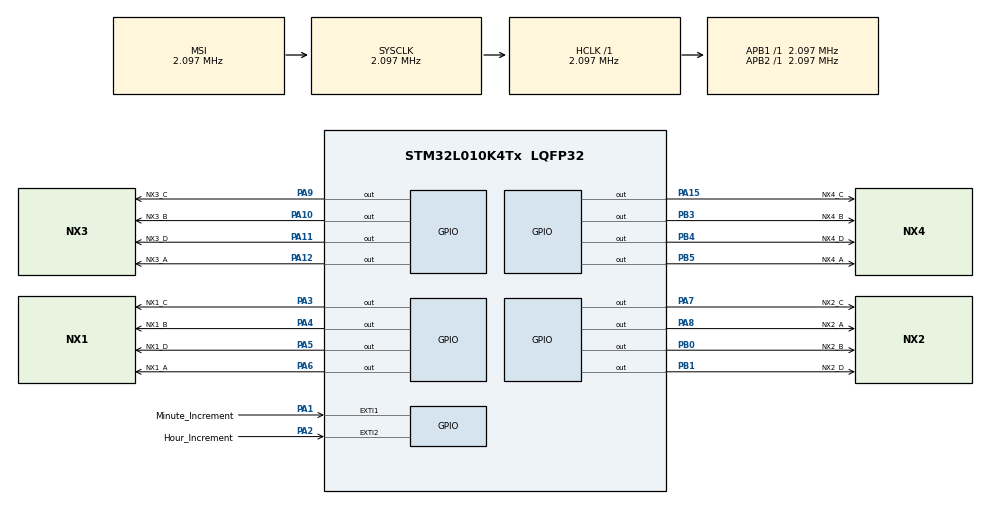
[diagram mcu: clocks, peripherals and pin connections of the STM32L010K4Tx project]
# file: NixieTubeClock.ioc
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Mcu.Family=STM32L0
Mcu.Name=STM32L010K4Tx
Mcu.Package=LQFP32
NVIC.EXTI0_1_IRQn=true\:0\:0\:false\:false\:true\:true\:true\:true
NVIC.EXTI2_3_IRQn=true\:0\:0\:false\:false\:true\:true\:true\:true
PA1.GPIO_Label=Minute_Increment
PA1.Signal=GPXTI1
PA10.GPIO_Label=NX3_B
PA10.Signal=GPIO_Output
PA11.GPIO_Label=NX3_D
PA11.Signal=GPIO_Output
PA12.GPIO_Label=NX3_A
PA12.Signal=GPIO_Output
PA13.Mode=Serial_Wire
PA13.Signal=SYS_SWDIO
PA14.Mode=Serial_Wire
PA14.Signal=SYS_SWCLK
PA15.GPIO_Label=NX4_C
PA15.Signal=GPIO_Output
PA2.GPIO_Label=Hour_Increment
PA2.Signal=GPXTI2
PA3.GPIO_Label=NX1_C
PA3.Signal=GPIO_Output
PA4.GPIO_Label=NX1_B
PA4.Signal=GPIO_Output
PA5.GPIO_Label=NX1_D
PA5.Signal=GPIO_Output
PA6.GPIO_Label=NX1_A
PA6.Signal=GPIO_Output
PA7.GPIO_Label=NX2_C
PA7.Signal=GPIO_Output
PA8.GPIO_Label=NX2_A
PA8.Signal=GPIO_Output
PA9.GPIO_Label=NX3_C
PA9.Signal=GPIO_Output
PB0.GPIO_Label=NX2_B
PB0.Signal=GPIO_Output
PB1.GPIO_Label=NX2_D
PB1.Signal=GPIO_Output
PB3.GPIO_Label=NX4_B
PB3.Signal=GPIO_Output
PB4.GPIO_Label=NX4_D
PB4.Signal=GPIO_Output
PB5.GPIO_Label=NX4_A
PB5.Signal=GPIO_Output
PC14-OSC32_IN.Mode=LSE-External-Oscillator
PC14-OSC32_IN.Signal=RCC_OSC32_IN
PC15-OSC32_OUT.Mode=LSE-External-Oscillator
PC15-OSC32_OUT.Signal=RCC_OSC32_OUT
ProjectManager.HeapSize=0x200
ProjectManager.StackSize=0x800
ProjectManager.TargetToolchain=STM32CubeIDE
RCC.AHBFreq_Value=2097000
RCC.APB1Freq_Value=2097000
RCC.APB1TimFreq_Value=2097000
RCC.APB2Freq_Value=2097000
RCC.APB2TimFreq_Value=2097000
RCC.EnableCSSLSE=true
RCC.HCLKFreq_Value=2097000
RCC.HSE_VALUE=8000000
RCC.HSI16_VALUE=16000000
RCC.HSI_VALUE=16000000
RCC.MSI_VALUE=2097000
RCC.RTCClockSelection=RCC_RTCCLKSOURCE_LSE
RCC.RTCClockSelectionVirtual=RCC_RTCCLKSOURCE_LSE
RCC.SYSCLKFreq_VALUE=2097000
RCC.VCOOutputFreq_Value=48000000
RTC.HourFormat=RTC_HOURFORMAT_12
VP_RTC_VS_RTC_Activate.Mode=RTC_Enabled
board=custom

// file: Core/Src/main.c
/* USER CODE BEGIN Header */
/**
  ******************************************************************************
  * @file           : main.c
  * @brief          : Main program body
  ******************************************************************************
  * @attention
  *
  * Copyright (c) 2022 STMicroelectronics.
  * All rights reserved.
  *
  * This software is licensed under terms that can be found in the LICENSE file
  * in the root directory of this software component.
  * If no LICENSE file comes with this software, it is provided AS-IS.
  *
  ******************************************************************************
  */
/* USER CODE END Header */
#include "main.h"

RTC_HandleTypeDef hrtc;

/* USER CODE BEGIN PV */

/**
 * Current minute/hour to know when to change the time on the nixie tubes.
 * This is just a copy of what the RTC values are.
 */
uint8_t current_minute = 0;
uint8_t current_hour = 0;

/* USER CODE END PV */

void SystemClock_Config(void);
static void MX_GPIO_Init(void);
static void MX_RTC_Init(void);

int main(void)
{

  /* MCU Configuration--------------------------------------------------------*/

  /* Reset of all peripherals, Initializes the Flash interface and the Systick. */
  HAL_Init();

  /* Configure the system clock */
  SystemClock_Config();

  /* Initialize all configured peripherals */
  MX_GPIO_Init();
  MX_RTC_Init();

  /* Infinite loop */
  /* USER CODE BEGIN WHILE */
  while (1)
  {
      /**
       * Although the date isn't used anywhere, you have to read it in
       * order to get the time.
       */
      HAL_RTC_GetTime(&hrtc, &time, RTC_FORMAT_BCD);
      HAL_RTC_GetDate(&hrtc, &date, RTC_FORMAT_BCD);

      /**
       * Only update the tubes if the RTC minute or hour has changed
       */
      if (current_minute != time.Minutes || current_hour != time.Hours) {
          current_minute = time.Minutes;
          current_hour = time.Hours;
          display_time();
      }

      /**
       * Avoid cathode poisoning by occasionally cycling through the numbers.
       */
      if (check_cycle()) {
          cycle();
          display_time();
      }

    /* USER CODE END WHILE */

  }
}

void SystemClock_Config(void)
{
  RCC_OscInitTypeDef RCC_OscInitStruct = {0};
  RCC_ClkInitTypeDef RCC_ClkInitStruct = {0};
  RCC_PeriphCLKInitTypeDef PeriphClkInit = {0};

  /** Configure the main internal regulator output voltage
  */
  __HAL_PWR_VOLTAGESCALING_CONFIG(PWR_REGULATOR_VOLTAGE_SCALE1);

  /** Configure LSE Drive Capability
  */
  HAL_PWR_EnableBkUpAccess();
  __HAL_RCC_LSEDRIVE_CONFIG(RCC_LSEDRIVE_LOW);

  /** Initializes the RCC Oscillators according to the specified parameters
  * in the RCC_OscInitTypeDef structure.
  */
  RCC_OscInitStruct.OscillatorType = RCC_OSCILLATORTYPE_LSE|RCC_OSCILLATORTYPE_MSI;
  RCC_OscInitStruct.LSEState = RCC_LSE_ON;
  RCC_OscInitStruct.MSIState = RCC_MSI_ON;
  RCC_OscInitStruct.MSICalibrationValue = 0;
  RCC_OscInitStruct.MSIClockRange = RCC_MSIRANGE_5;
  RCC_OscInitStruct.PLL.PLLState = RCC_PLL_NONE;
  if (HAL_RCC_OscConfig(&RCC_OscInitStruct) != HAL_OK)
  {
    Error_Handler();
  }

  /** Initializes the CPU, AHB and APB buses clocks
  */
  RCC_ClkInitStruct.ClockType = RCC_CLOCKTYPE_HCLK|RCC_CLOCKTYPE_SYSCLK
                              |RCC_CLOCKTYPE_PCLK1|RCC_CLOCKTYPE_PCLK2;
  RCC_ClkInitStruct.SYSCLKSource = RCC_SYSCLKSOURCE_MSI;
  RCC_ClkInitStruct.AHBCLKDivider = RCC_SYSCLK_DIV1;
  RCC_ClkInitStruct.APB1CLKDivider = RCC_HCLK_DIV1;
  RCC_ClkInitStruct.APB2CLKDivider = RCC_HCLK_DIV1;

  if (HAL_RCC_ClockConfig(&RCC_ClkInitStruct, FLASH_LATENCY_0) != HAL_OK)
  {
    Error_Handler();
  }
  PeriphClkInit.PeriphClockSelection = RCC_PERIPHCLK_RTC;
  PeriphClkInit.RTCClockSelection = RCC_RTCCLKSOURCE_LSE;
  if (HAL_RCCEx_PeriphCLKConfig(&PeriphClkInit) != HAL_OK)
  {
    Error_Handler();
  }

  /** Enables the Clock Security System
  */
  HAL_RCCEx_EnableLSECSS();
}

static void MX_RTC_Init(void)
{

  /** Initialize RTC Only
  */
  hrtc.Instance = RTC;
  hrtc.Init.HourFormat = RTC_HOURFORMAT_12;
  hrtc.Init.AsynchPrediv = 127;
  hrtc.Init.SynchPrediv = 255;
  hrtc.Init.OutPut = RTC_OUTPUT_DISABLE;
  hrtc.Init.OutPutRemap = RTC_OUTPUT_REMAP_NONE;
  hrtc.Init.OutPutPolarity = RTC_OUTPUT_POLARITY_HIGH;
  hrtc.Init.OutPutType = RTC_OUTPUT_TYPE_OPENDRAIN;
  if (HAL_RTC_Init(&hrtc) != HAL_OK)
  {
    Error_Handler();
  }
  /* USER CODE BEGIN RTC_Init 2 */

  set_initial_time();

  /* USER CODE END RTC_Init 2 */

}

static void MX_GPIO_Init(void)
{
  GPIO_InitTypeDef GPIO_InitStruct = {0};

  /* GPIO Ports Clock Enable */
  __HAL_RCC_GPIOC_CLK_ENABLE();
  __HAL_RCC_GPIOA_CLK_ENABLE();
  __HAL_RCC_GPIOB_CLK_ENABLE();

  /*Configure GPIO pin Output Level */
  HAL_GPIO_WritePin(GPIOA, NX1_C_Pin|NX1_B_Pin|NX1_D_Pin|NX1_A_Pin
                          |NX2_C_Pin|NX2_A_Pin|NX3_C_Pin|NX3_B_Pin
                          |NX3_D_Pin|NX3_A_Pin|NX4_C_Pin, GPIO_PIN_RESET);

  /*Configure GPIO pin Output Level */
  HAL_GPIO_WritePin(GPIOB, NX2_B_Pin|NX2_D_Pin|NX4_B_Pin|NX4_D_Pin
                          |NX4_A_Pin, GPIO_PIN_RESET);

  /*Configure GPIO pins : Minute_Increment_Pin Hour_Increment_Pin */
  GPIO_InitStruct.Pin = Minute_Increment_Pin|Hour_Increment_Pin;
  GPIO_InitStruct.Mode = GPIO_MODE_IT_RISING;
  GPIO_InitStruct.Pull = GPIO_NOPULL;
  HAL_GPIO_Init(GPIOA, &GPIO_InitStruct);

  /*Configure GPIO pins : NX1_C_Pin NX1_B_Pin NX1_D_Pin NX1_A_Pin
                           NX2_C_Pin NX2_A_Pin NX3_C_Pin NX3_B_Pin
                           NX3_D_Pin NX3_A_Pin NX4_C_Pin */
  GPIO_InitStruct.Pin = NX1_C_Pin|NX1_B_Pin|NX1_D_Pin|NX1_A_Pin
                          |NX2_C_Pin|NX2_A_Pin|NX3_C_Pin|NX3_B_Pin
                          |NX3_D_Pin|NX3_A_Pin|NX4_C_Pin;
  GPIO_InitStruct.Mode = GPIO_MODE_OUTPUT_PP;
  GPIO_InitStruct.Pull = GPIO_NOPULL;
  GPIO_InitStruct.Speed = GPIO_SPEED_FREQ_LOW;
  HAL_GPIO_Init(GPIOA, &GPIO_InitStruct);

  /*Configure GPIO pins : NX2_B_Pin NX2_D_Pin NX4_B_Pin NX4_D_Pin
                           NX4_A_Pin */
  GPIO_InitStruct.Pin = NX2_B_Pin|NX2_D_Pin|NX4_B_Pin|NX4_D_Pin
                          |NX4_A_Pin;
  GPIO_InitStruct.Mode = GPIO_MODE_OUTPUT_PP;
  GPIO_InitStruct.Pull = GPIO_NOPULL;
  GPIO_InitStruct.Speed = GPIO_SPEED_FREQ_LOW;
  HAL_GPIO_Init(GPIOB, &GPIO_InitStruct);

  /* EXTI interrupt init*/
  HAL_NVIC_SetPriority(EXTI0_1_IRQn, 0, 0);
  HAL_NVIC_EnableIRQ(EXTI0_1_IRQn);

  HAL_NVIC_SetPriority(EXTI2_3_IRQn, 0, 0);
  HAL_NVIC_EnableIRQ(EXTI2_3_IRQn);

}

/* USER CODE BEGIN 4 */

void set_initial_time(void)
{
    time.Hours = 0x12;
    time.Minutes = 0x00;
    time.Seconds = 0x00;
    time.TimeFormat = RTC_HOURFORMAT12_PM;
    HAL_RTC_SetTime(&hrtc, &time, RTC_FORMAT_BCD);
}

void increment_minute(void)
{
    time.Seconds = 0x00;
    if (time.Minutes == 0x59) {
        time.Minutes = 0x00;
    } else {
        time.Minutes = RTC_ByteToBcd2(RTC_Bcd2ToByte(time.Minutes) + 0x01);
    }

    HAL_RTC_SetTime(&hrtc, &time, RTC_FORMAT_BCD);
}

void increment_hour(void)
{
    time.Seconds = 0x00;
    if (time.Hours == 0x12) {
        time.Hours = 0x01;
    } else {
        time.Hours = RTC_ByteToBcd2(
                RTC_Bcd2ToByte(time.Hours) + 0x01
        );
    }

    HAL_RTC_SetTime(&hrtc, &time, RTC_FORMAT_BCD);
}

/**
 * Interrupt to set flag, which allows the main loop to increment the hour or minute
 */
void HAL_GPIO_EXTI_Callback(uint16_t GPIO_Pin)
{
    switch (GPIO_Pin) {
        case GPIO_PIN_1:
            increment_hour();
            break;
        case GPIO_PIN_2:
            increment_minute();
            break;
        default:
            break;
    }
}

/* USER CODE END 4 */

void Error_Handler(void)
{
  __disable_irq();
  while (1)
  {
  }
}
